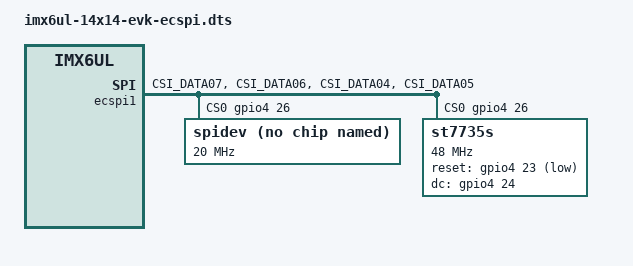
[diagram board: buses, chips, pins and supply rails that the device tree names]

/*
 * Copyright (C) 2016 Freescale Semiconductor, Inc.
 *
 * This program is free software; you can redistribute it and/or modify
 * it under the terms of the GNU General Public License version 2 as
 * published by the Free Software Foundation.
 */

#include "imx6ul-14x14-evk.dts"

&sim2 {
	status = "disabled";
};
&csi {
        status = "disabled";
};

&ov9650 {
        status = "disabled";
};



&ecspi1 {
        fsl,spi-num-chipselects = <1>;
        cs-gpios = <&gpio4 26 0>;
        pinctrl-names = "default";
        pinctrl-0 = <&pinctrl_ecspi1 &pinctrl_ecspi1_cs>;
        status = "okay";
	
	spidev@0{
                compatible = "spidev";
                spi-max-frequency = <20000000>;
                reg = <0>;
        };
	
};

&iomuxc {
	imx6ul-evk {
		pinctrl_ecspi1: ecspi1grp {
                         fsl,pins = <
                                MX6UL_PAD_CSI_DATA07__ECSPI1_MISO   0x100b1
                                MX6UL_PAD_CSI_DATA06__ECSPI1_MOSI   0x100b1
                                MX6UL_PAD_CSI_DATA04__ECSPI1_SCLK   0x100b1
                         >;
                };
                pinctrl_ecspi1_cs: ecspi1_csgrp {
                         fsl,pins = <
                                MX6UL_PAD_CSI_DATA05__GPIO4_IO26   0x100b1
                         >;
                };		
	};
};

&ecspi1 {
	status = "okay";
	st7735s: st7735s@00{
		compatible = "st7735s";
		reg = <0x00>;
		spi-max-frequency = <48000000>;
		reset-gpios = <&gpio4 23 GPIO_ACTIVE_LOW>;/* GPIO4_C2 */	
		dc-gpios = <&gpio4 24 GPIO_ACTIVE_HIGH>;/* GPIO4_C6 */	//description
		pinctrl-names = "default";
		pinctrl-0 = <&st7735s_reset &st7735s_dc>;/*be careful of different api invoke in source files*/
		};
};
&iomuxc {
	imx6ul-evk {
		pinctrl_ecspi1: ecspi1grp {
                         fsl,pins = <
                                MX6UL_PAD_CSI_DATA07__ECSPI1_MISO   0x100b1
                                MX6UL_PAD_CSI_DATA06__ECSPI1_MOSI   0x100b1
                                MX6UL_PAD_CSI_DATA04__ECSPI1_SCLK   0x100b1
                         >;
                };
                pinctrl_ecspi1_cs: ecspi1_csgrp {
                         fsl,pins = <
                                MX6UL_PAD_CSI_DATA05__GPIO4_IO26   0x100b1
                         >;
                };
		st7735s {
			st7735s_reset: st7735s-reset {
				fsl,pins = <
                                MX6UL_PAD_CSI_DATA05__GPIO4_IO26   0x100b1
                         >;
			};
			st7735s_dc: st7735s-dc {
			fsl,pins = <
                                MX6UL_PAD_CSI_DATA05__GPIO4_IO26   0x100b1
                         >;
			};
		};				
	};
};
&pinctrl {
	st7735s {
		st7735s_reset: st7735s-reset {
			rockchip,pins = <4 1 RK_FUNC_GPIO &pcfg_pull_up>;
		};
		st7735s_dc: st7735s-dc {
			rockchip,pins = <4 2 RK_FUNC_GPIO &pcfg_pull_up>;//configure
		};
	};
};

